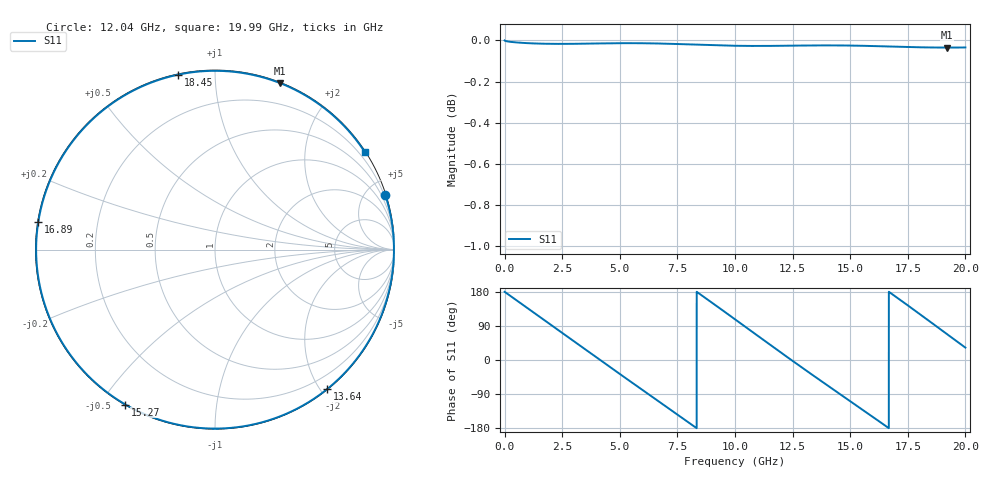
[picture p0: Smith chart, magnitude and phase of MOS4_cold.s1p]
# GHz S RI R 50
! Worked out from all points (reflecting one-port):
!   10001 points, 1 MHz to 20 GHz, reference 50 ohm
!   lowest |S11| = 0.0 dB at 19.19 GHz (marker M1), VSWR 495.66, Z = 0.317 + j73.2 ohm
!   phase of S11 starts at 180 deg and turns -867 deg over the sweep
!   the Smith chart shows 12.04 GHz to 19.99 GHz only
!   S11 on the Smith chart (normalised r, x): 12.04 GHz: 0.06, +6.35; 13.64 GHz: 0.01, -2.09; 15.27 GHz: 0.00, -0.58; 16.89 GHz: 0.00, +0.08; 18.45 GHz: 0.00, +0.81; 19.99 GHz: 0.02, +3.38
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0.001  -0.9999 0.000805
0.667  -0.8745 0.4823
1.399  -0.4906 0.8694
2.501  0.3152 0.9469
3.807  0.9651 0.2548
4.395  0.9809 -0.1855
5.001  0.7986 -0.5993
5.647  0.4273 -0.9024
6.247  -0.0062 -0.9983
6.849  -0.439 -0.8965
7.501  -0.8072 -0.5868
8.109  -0.9828 -0.1715
8.699  -0.9607 0.2683
10.001  -0.299 0.9511
10.949  0.4113 0.9081
12.035  0.9487 0.3065
12.501  0.9962 -0.0412
13.637  0.6263 -0.776
14.327  0.1684 -0.9829
15.001  -0.3189 -0.9447
15.271  -0.4989 -0.8632
16.123  -0.9116 -0.4032
16.887  -0.9842 0.1561
17.501  -0.8073 0.5838
18.449  -0.207 0.9743
19.193  0.3625 0.9277
19.993  0.8354 0.5424
20.001  0.8387 0.5372
